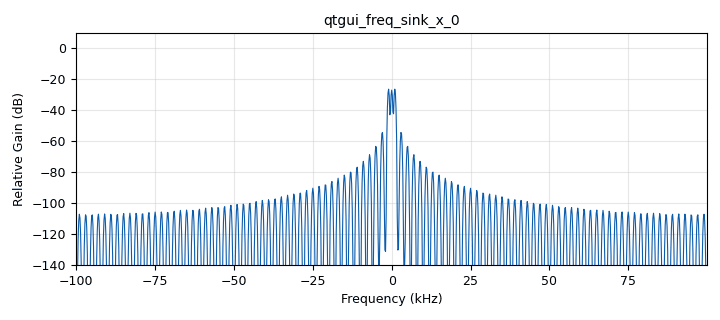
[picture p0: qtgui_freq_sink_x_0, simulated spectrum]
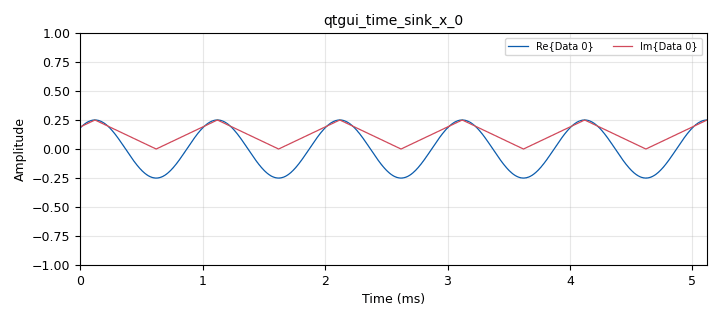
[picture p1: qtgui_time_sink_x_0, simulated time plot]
options:
  parameters:
    generate_options: qt_gui
    id: QAM
    output_language: python
    title: Not titled yet
  states: {}

blocks:
- name: Ac
  id: variable_qtgui_range
  parameters:
    label: Amplitud Portadora
    start: '0'
    step: '10e-3'
    stop: '500e-3'
    value: '250e-3'
  states: {}
- name: Am
  id: variable_qtgui_range
  parameters:
    label: Amplitud mensaje
    start: '0'
    step: '10e-3'
    stop: '1'
    value: '250e-3'
  states: {}
- name: Fc
  id: variable_qtgui_range
  parameters:
    label: Frecuencia portadora
    start: 50e6
    step: 1e6
    stop: 2.2e9
    value: 500e6
  states: {}
- name: Fm1
  id: variable_qtgui_range
  parameters:
    label: Frecuencia mensaje 1
    start: '0'
    step: '100'
    stop: 1e6
    value: 1e3
  states: {}
- name: Fm2
  id: variable_qtgui_range
  parameters:
    label: Frecuencia mensaje 2
    start: '0'
    step: '100'
    stop: 1e6
    value: 1e3
  states: {}
- name: GTX
  id: variable_qtgui_range
  parameters:
    label: Ganancia TX
    start: '0'
    step: '1'
    stop: '31'
    value: '0'
  states: {}
- name: samp_rate
  id: variable
  parameters:
    value: 200e3
  states: {}
- name: Ac
  id: parameter
  parameters:
    label: Amplitud Portadora
    type: eng_float
    value: '1'
  states: {state: disabled}
- name: analog_sig_source_x_0
  id: analog_sig_source_x
  parameters:
    amp: Am
    freq: Fm1
    offset: '0'
    phase: '0'
    samp_rate: samp_rate
    type: float
    waveform: analog.GR_COS_WAVE
  states: {}
- name: analog_sig_source_x_1
  id: analog_sig_source_x
  parameters:
    amp: Am
    freq: Fm2
    offset: '0'
    phase: '0'
    samp_rate: samp_rate
    type: float
    waveform: analog.GR_TRI_WAVE
  states: {}
- name: blocks_float_to_complex_0
  id: blocks_float_to_complex
  parameters: {}
  states: {}
- name: blocks_multiply_const_vxx_0
  id: blocks_multiply_const_vxx
  parameters:
    const: '1'
    type: complex
  states: {}
- name: qtgui_freq_sink_x_0
  id: qtgui_freq_sink_x
  parameters:
    bw: samp_rate
    fc: '0'
    fftsize: '1024'
    type: complex
  states: {}
- name: qtgui_time_sink_x_0
  id: qtgui_time_sink_x
  parameters:
    size: '1024'
    srate: samp_rate
    type: complex
  states: {}
- name: uhd_usrp_sink_0
  id: uhd_usrp_sink
  parameters:
    ant0: '"TX/RX"'
    center_freq0: Fc
    gain0: GTX
    samp_rate: samp_rate
    sync: pc_clock
    type: fc32
  states: {}

connections:
- [analog_sig_source_x_0, '0', blocks_float_to_complex_0, '0']
- [analog_sig_source_x_1, '0', blocks_float_to_complex_0, '1']
- [blocks_float_to_complex_0, '0', blocks_multiply_const_vxx_0, '0']
- [blocks_multiply_const_vxx_0, '0', qtgui_freq_sink_x_0, '0']
- [blocks_multiply_const_vxx_0, '0', qtgui_time_sink_x_0, '0']
- [blocks_multiply_const_vxx_0, '0', uhd_usrp_sink_0, '0']

metadata:
  file_format: 1
